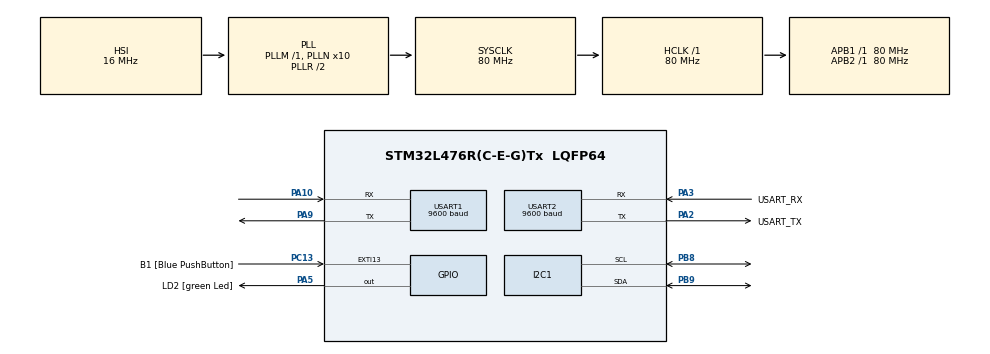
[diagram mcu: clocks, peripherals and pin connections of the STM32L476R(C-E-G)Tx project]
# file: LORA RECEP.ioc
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I2C1.Timing=0x10909CEC
Mcu.Family=STM32L4
Mcu.Name=STM32L476R(C-E-G)Tx
Mcu.Package=LQFP64
NVIC.PriorityGroup=NVIC_PRIORITYGROUP_4
PA10.Mode=Asynchronous
PA10.Signal=USART1_RX
PA13\ (JTMS-SWDIO).GPIO_Label=TMS
PA13\ (JTMS-SWDIO).Mode=Serial_Wire
PA13\ (JTMS-SWDIO).Signal=SYS_JTMS-SWDIO
PA14\ (JTCK-SWCLK).GPIO_Label=TCK
PA14\ (JTCK-SWCLK).Mode=Serial_Wire
PA14\ (JTCK-SWCLK).Signal=SYS_JTCK-SWCLK
PA2.GPIO_Label=USART_TX
PA2.GPIO_Mode=GPIO_MODE_AF_PP
PA2.GPIO_PuPd=GPIO_NOPULL
PA2.GPIO_Speed=GPIO_SPEED_FREQ_VERY_HIGH
PA2.Mode=Asynchronous
PA2.Signal=USART2_TX
PA3.GPIO_Label=USART_RX
PA3.GPIO_Mode=GPIO_MODE_AF_PP
PA3.GPIO_PuPd=GPIO_NOPULL
PA3.GPIO_Speed=GPIO_SPEED_FREQ_VERY_HIGH
PA3.Mode=Asynchronous
PA3.Signal=USART2_RX
PA5.GPIO_Label=LD2 [green Led]
PA5.GPIO_ModeDefaultOutputPP=GPIO_MODE_OUTPUT_PP
PA5.GPIO_PuPd=GPIO_NOPULL
PA5.GPIO_Speed=GPIO_SPEED_FREQ_LOW
PA5.Signal=GPIO_Output
PA9.Mode=Asynchronous
PA9.Signal=USART1_TX
PB3\ (JTDO-TRACESWO).GPIO_Label=SWO
PB3\ (JTDO-TRACESWO).Signal=SYS_JTDO-SWO
PB8.Mode=I2C
PB8.Signal=I2C1_SCL
PB9.Mode=I2C
PB9.Signal=I2C1_SDA
PC13.GPIO_Label=B1 [Blue PushButton]
PC13.GPIO_ModeDefaultEXTI=GPIO_MODE_IT_FALLING
PC13.GPIO_PuPd=GPIO_NOPULL
PC13.Signal=GPXTI13
PC14-OSC32_IN\ (PC14).Mode=LSE-External-Oscillator
PC14-OSC32_IN\ (PC14).Signal=RCC_OSC32_IN
PC15-OSC32_OUT\ (PC15).Mode=LSE-External-Oscillator
PC15-OSC32_OUT\ (PC15).Signal=RCC_OSC32_OUT
PH0-OSC_IN\ (PH0).Signal=RCC_OSC_IN
PH1-OSC_OUT\ (PH1).Signal=RCC_OSC_OUT
ProjectManager.HeapSize=0x200
ProjectManager.StackSize=0x400
ProjectManager.TargetToolchain=STM32CubeIDE
RCC.ADCFreq_Value=64000000
RCC.AHBFreq_Value=80000000
RCC.APB1Freq_Value=80000000
RCC.APB1TimFreq_Value=80000000
RCC.APB2Freq_Value=80000000
RCC.APB2TimFreq_Value=80000000
RCC.CortexFreq_Value=80000000
RCC.HCLKFreq_Value=80000000
RCC.HSE_VALUE=8000000
RCC.HSI_VALUE=16000000
RCC.MSI_VALUE=4000000
RCC.PLLN=10
RCC.PLLSourceVirtual=RCC_PLLSOURCE_HSI
RCC.PREFETCH_ENABLE=1
RCC.SYSCLKFreq_VALUE=80000000
RCC.SYSCLKSource=RCC_SYSCLKSOURCE_PLLCLK
RCC.USBFreq_Value=64000000
RCC.VCOOutputFreq_Value=160000000
USART1.BaudRate=9600
USART1.VirtualMode-Asynchronous=VM_ASYNC
USART2.BaudRate=9600
USART2.VirtualMode-Asynchronous=VM_ASYNC
board=NUCLEO-L476RG

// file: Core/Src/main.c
/* USER CODE BEGIN Header */

/**

  ******************************************************************************

  * @file           : main.c

  * @brief          : Main program body

  ******************************************************************************

  * @attention

  *

  * Copyright (c) 2024 STMicroelectronics.

  * All rights reserved.²

  *

  * This software is licensed under terms that can be found in the LICENSE file

  * in the root directory of this software component.

  * If no LICENSE file comes with this software, it is provided AS-IS.

  *

  ******************************************************************************

  */

/* USER CODE END Header */

#include "main.h"

#include "i2c.h"

#include "usart.h"

#include "gpio.h"

#include "lib_lcd.h"

/* USER CODE BEGIN PTD */

#define BUFFER_SIZE 100

// Variables globales

char buffer[BUFFER_SIZE];

int index = 0;

/* USER CODE END PTD */

/* USER CODE BEGIN PV */

static rgb_lcd lcdData;

/* USER CODE END PV */

void SystemClock_Config(void);

/* USER CODE BEGIN 0 */

char receivedData[1000]; // Pour stocker le caractère reçu

long int extractedValue;

// Fonction pour traiter les données reçues

long int processReceivedData(char inByte) {

    buffer[index] = inByte;

    index++;

    // Si on reçoit un retour à la ligne, on analyse la ligne

    if (inByte == '\n') {

        // On réinitialise l'index

        index = 0;

        // Si la ligne contient "RX", on la traite

        if (strstr(buffer, "+TEST: RX") != NULL) {

            // On recherche les positions de "AA"

            char *debut = strstr(buffer, "AA");

            char *fin = strstr(debut + 2, "AA");

            if (debut != NULL && fin != NULL) {

                // On extrait les données entre "AA" et "AA"

                char resultat[20];

                strncpy(resultat, debut + 2, fin - debut - 2);

                resultat[fin - debut - 2] = '\0';

                // Conversion de la chaîne de caractères en long int

                extractedValue = strtol(resultat, NULL, 10);

                return extractedValue;

            }

        }

        // On efface le buffer

        memset(buffer, 0, BUFFER_SIZE);

    }

    return 0; // Retourne 0 si aucune valeur n'a été extraite

}

/* USER CODE END 0 */

int main(void)

{

  /* MCU Configuration--------------------------------------------------------*/

  /* Reset of all peripherals, Initializes the Flash interface and the Systick. */

  HAL_Init();

  /* Configure the system clock */

  SystemClock_Config();

  /* Initialize all configured peripherals */

  MX_GPIO_Init();

  MX_USART2_UART_Init();

  MX_USART1_UART_Init();

  MX_I2C1_Init();

  lcd_init(&hi2c1, &lcdData); // initialise le lcd

  /* USER CODE BEGIN 2 */

/*

  // Transmit command to LoRa module

  	  HAL_UART_Transmit(&huart1, (uint8_t*)dataToSend, strlen(dataToSend), 1000);

     // Wait for response from LoRa module

     HAL_UART_Receive(&huart1, (uint8_t*)receivedData, sizeof(receivedData), 1000);

*/

  // Transmit command at to LoRa module

         char dataToSend[] = "AT\r"; // Tableau d'octets à envoyer

  	   	  HAL_UART_Transmit(&huart1, (uint8_t*)dataToSend, strlen(dataToSend), 1000);

  	  // Attente de la réponse à la première commande

  	     HAL_UART_Receive(&huart1, (uint8_t*)receivedData, sizeof(receivedData), 1000);

  	     // Transmission de la réponse reçue à une autre UART (si nécessaire)

  	     HAL_UART_Transmit(&huart2, (uint8_t*)receivedData, strlen(receivedData), 1000);

  	  /*   // Envoi de la deuxième commande "AT+ID"

  	     char secondCommand[] = "AT+ID\r";

  	     HAL_UART_Transmit(&huart1, (uint8_t*)secondCommand, strlen(secondCommand), 1000);

  	     // Attente de la réponse à la deuxième commande (si nécessaire)

  	     HAL_UART_Receive(&huart1, (uint8_t*)receivedData, sizeof(receivedData), 1000);

  	   // Transmission de la réponse reçue à une autre UART (si nécessaire)

  	     HAL_UART_Transmit(&huart2, (uint8_t*)receivedData, strlen(receivedData), 1000);

*/

  	   // Envoi de la 3ème commande "AT+MODE"

  	    char thirdCommand[] = "AT+MODE=TEST\r";

  	    HAL_UART_Transmit(&huart1, (uint8_t*)thirdCommand, strlen(thirdCommand), 1000);

  	    // Attente de la réponse à la 3ième commande (si nécessaire)

  	    HAL_UART_Receive(&huart1, (uint8_t*)receivedData, sizeof(receivedData), 1000);

  	    // Transmission de la réponse reçue à une autre UART (si nécessaire)

  	    HAL_UART_Transmit(&huart2, (uint8_t*)receivedData, strlen(receivedData), 1000);

  	  // Envoi de la 4ème commande "AT+MODE"

  	    char fourthCommand[] = "AT+TEST=RXLRPKT\r";

  	    HAL_UART_Transmit(&huart1, (uint8_t*)fourthCommand, strlen(fourthCommand), 1000);

  	   // Attente de la réponse à la 3ième commande (si nécessaire)

  	    HAL_UART_Receive(&huart1, (uint8_t*)receivedData, sizeof(receivedData), 1000);

  	    // Transmission de la réponse reçue à une autre UART (si nécessaire)

  	    HAL_UART_Transmit(&huart2, (uint8_t*)receivedData, strlen(receivedData), 1000);

  /* USER CODE END 2 */

  /* Infinite loop */

  /* USER CODE BEGIN WHILE */

  while (1)

  {

	  // Réception des données caractère par caractère

	      uint8_t receivedData;

	      HAL_UART_Receive(&huart1, &receivedData, 1, HAL_MAX_DELAY);

	      long int valeur = processReceivedData((char)receivedData);

	     // long int temperature = valeur % 100;

	      int temperatureint = 0;

	      int temperaturedec = 0;

	      double temperature = 0;

	      int humidity = 0;

	      // Vérifie si la valeur extraite a été mise à jour

	      if (valeur != 0)

	      {

	          // Afficher la température

	          temperatureint = valeur / 10000; // Les deux premiers chiffres représentent la température

	           temperaturedec = (valeur/100) % 100 ;

	           temperature= temperatureint + ((double) temperaturedec)/100;

	          // Afficher l'humidité

	          humidity = valeur % 100; // Les deux derniers chiffres représentent l'humidité

	          // Affiche la valeur sur UART2

	          char bufferTemp[10];

	          char bufferTempint[10];

	          char bufferTempdec[10];

	          char bufferHum[10];

	          snprintf(bufferTempint, sizeof(bufferTempint), "%d", temperatureint);

	          snprintf(bufferTempdec, sizeof(bufferTempdec), "%d", temperaturedec);

	          snprintf(bufferTemp, sizeof(bufferTemp), "%.2lf", temperature);

	          snprintf(bufferHum, sizeof(bufferHum), "%d", humidity);

	          HAL_UART_Transmit(&huart2, (uint8_t *)"temperatureint: ", strlen("temperatureint: "), HAL_MAX_DELAY);

	          HAL_UART_Transmit(&huart2, (uint8_t *)bufferTempint, strlen(bufferTempint), HAL_MAX_DELAY);

	          HAL_UART_Transmit(&huart2, (uint8_t *)"temperaturedec: ", strlen("temperaturedec: "), HAL_MAX_DELAY);

	          HAL_UART_Transmit(&huart2, (uint8_t *)bufferTempdec, strlen(bufferTempdec), HAL_MAX_DELAY);

	          HAL_UART_Transmit(&huart2, (uint8_t *)"Température: ", strlen("Température: "), HAL_MAX_DELAY);

	          HAL_UART_Transmit(&huart2, (uint8_t *)bufferTemp, strlen(bufferTemp), HAL_MAX_DELAY);

	          HAL_UART_Transmit(&huart2, (uint8_t *)" Humidité: ", strlen(" Humidité: "), HAL_MAX_DELAY);

	          HAL_UART_Transmit(&huart2, (uint8_t *)bufferHum, strlen(bufferHum), HAL_MAX_DELAY);

	          HAL_UART_Transmit(&huart2, (uint8_t *)"\r\n", 2, HAL_MAX_DELAY);

	          clearlcd();

	          	  sprintf(bufferHum,"Humidite: %d", humidity);

	          	  sprintf(bufferTemp, "Temp.: %.2f C", temperature);

	          	  lcd_position(&hi2c1,0,0);

	          	  lcd_print(&hi2c1,bufferHum);

	          	  lcd_print(&hi2c1,"%");

	          	  lcd_position(&hi2c1,0,1);

	          	  lcd_print(&hi2c1,bufferTemp);

	      }

    /* USER CODE END WHILE */

  }

}

void SystemClock_Config(void)

{

  RCC_OscInitTypeDef RCC_OscInitStruct = {0};

  RCC_ClkInitTypeDef RCC_ClkInitStruct = {0};

  /** Configure the main internal regulator output voltage

  */

  if (HAL_PWREx_ControlVoltageScaling(PWR_REGULATOR_VOLTAGE_SCALE1) != HAL_OK)

  {

    Error_Handler();

  }

  /** Initializes the RCC Oscillators according to the specified parameters

  * in the RCC_OscInitTypeDef structure.

  */

  RCC_OscInitStruct.OscillatorType = RCC_OSCILLATORTYPE_HSI;

  RCC_OscInitStruct.HSIState = RCC_HSI_ON;

  RCC_OscInitStruct.HSICalibrationValue = RCC_HSICALIBRATION_DEFAULT;

  RCC_OscInitStruct.PLL.PLLState = RCC_PLL_ON;

  RCC_OscInitStruct.PLL.PLLSource = RCC_PLLSOURCE_HSI;

  RCC_OscInitStruct.PLL.PLLM = 1;

  RCC_OscInitStruct.PLL.PLLN = 10;

  RCC_OscInitStruct.PLL.PLLP = RCC_PLLP_DIV7;

  RCC_OscInitStruct.PLL.PLLQ = RCC_PLLQ_DIV2;

  RCC_OscInitStruct.PLL.PLLR = RCC_PLLR_DIV2;

  if (HAL_RCC_OscConfig(&RCC_OscInitStruct) != HAL_OK)

  {

    Error_Handler();

  }

  /** Initializes the CPU, AHB and APB buses clocks

  */

  RCC_ClkInitStruct.ClockType = RCC_CLOCKTYPE_HCLK|RCC_CLOCKTYPE_SYSCLK

                              |RCC_CLOCKTYPE_PCLK1|RCC_CLOCKTYPE_PCLK2;

  RCC_ClkInitStruct.SYSCLKSource = RCC_SYSCLKSOURCE_PLLCLK;

  RCC_ClkInitStruct.AHBCLKDivider = RCC_SYSCLK_DIV1;

  RCC_ClkInitStruct.APB1CLKDivider = RCC_HCLK_DIV1;

  RCC_ClkInitStruct.APB2CLKDivider = RCC_HCLK_DIV1;

  if (HAL_RCC_ClockConfig(&RCC_ClkInitStruct, FLASH_LATENCY_4) != HAL_OK)

  {

    Error_Handler();

  }

}

void Error_Handler(void)

{

  __disable_irq();
  while (1)
  {
  }

}
